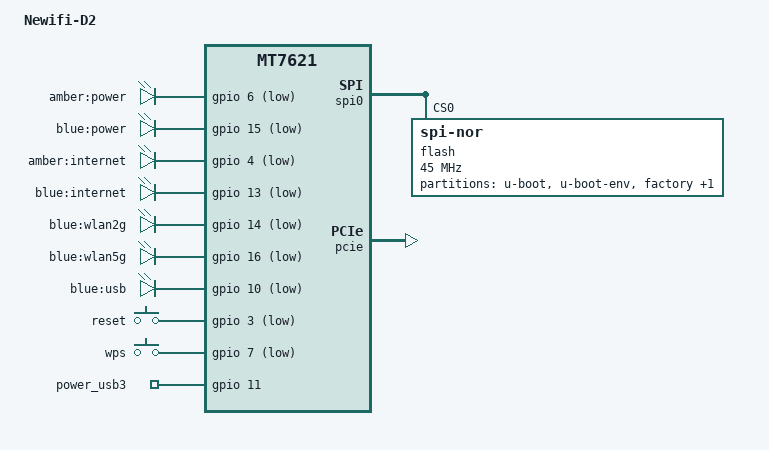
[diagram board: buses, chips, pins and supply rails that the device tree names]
#include "mt7621.dtsi"

#include <dt-bindings/gpio/gpio.h>
#include <dt-bindings/input/input.h>

/ {
	compatible = "d-team,newifi-d2", "mediatek,mt7621-soc";
	model = "Newifi-D2";

	aliases {
		led-boot = &led_power_blue;
		led-failsafe = &led_power_blue;
		led-running = &led_power_blue;
		led-upgrade = &led_power_blue;
		label-mac-device = &gmac0;
	};

	chosen {
		bootargs = "console=ttyS0,115200";
	};

	leds {
		compatible = "gpio-leds";

		power-amber {
			label = "amber:power";
			gpios = <&gpio 6 GPIO_ACTIVE_LOW>;
		};

		led_power_blue: power-blue {
			label = "blue:power";
			gpios = <&gpio 15 GPIO_ACTIVE_LOW>;
		};

		internet-amber {
			label = "amber:internet";
			gpios = <&gpio 4 GPIO_ACTIVE_LOW>;
		};

		internet-blue {
			label = "blue:internet";
			gpios = <&gpio 13 GPIO_ACTIVE_LOW>;
		};

		wlan2g {
			label = "blue:wlan2g";
			gpios = <&gpio 14 GPIO_ACTIVE_LOW>;
		};

		wlan5g {
			label = "blue:wlan5g";
			gpios = <&gpio 16 GPIO_ACTIVE_LOW>;
		};

		usb {
			label = "blue:usb";
			gpios = <&gpio 10 GPIO_ACTIVE_LOW>;
			trigger-sources = <&xhci_ehci_port1>, <&ehci_port2>;
			linux,default-trigger = "usbport";
		};
	};

	keys {
		compatible = "gpio-keys";

		reset {
			label = "reset";
			gpios = <&gpio 3 GPIO_ACTIVE_LOW>;
			linux,code = <KEY_RESTART>;
		};

		wps {
			label = "wps";
			gpios = <&gpio 7 GPIO_ACTIVE_LOW>;
			linux,code = <KEY_WPS_BUTTON>;
		};
	};

	gpio_export {
		compatible = "gpio-export";
		#size-cells = <0>;

		power_usb3 {
			gpio-export,name = "power_usb3";
			gpio-export,output = <1>;
			gpios = <&gpio 11 GPIO_ACTIVE_HIGH>;
		};
	};
};

&spi0 {
	status = "okay";

	flash@0 {
		compatible = "jedec,spi-nor";
		reg = <0>;
		spi-max-frequency = <45000000>;
		broken-flash-reset;

		partitions {
			compatible = "fixed-partitions";
			#address-cells = <1>;
			#size-cells = <1>;

			partition@0 {
				label = "u-boot";
				reg = <0x0 0x30000>;
				read-only;
			};

			partition@30000 {
				label = "u-boot-env";
				reg = <0x30000 0x10000>;
				read-only;
			};

			factory: partition@40000 {
				label = "factory";
				reg = <0x40000 0x10000>;
				read-only;
			};

			partition@50000 {
				compatible = "denx,uimage";
				label = "firmware";
				reg = <0x50000 0x1fb0000>;
			};
		};
	};
};

&pcie {
	status = "okay";
};

&pcie0 {
	mt76@0,0 {
		reg = <0x0000 0 0 0 0>;
		mediatek,mtd-eeprom = <&factory 0x8000>;
		ieee80211-freq-limit = <5000000 6000000>;
	};
};

&pcie1 {
	mt76@0,0 {
		reg = <0x0000 0 0 0 0>;
		mediatek,mtd-eeprom = <&factory 0x0000>;
	};
};

&gmac0 {
	nvmem-cells = <&macaddr_factory_e000>;
	nvmem-cell-names = "mac-address";
};

&switch0 {
	ports {
		port@0 {
			status = "okay";
			label = "lan4";
		};

		port@1 {
			status = "okay";
			label = "lan3";
		};

		port@2 {
			status = "okay";
			label = "lan2";
		};

		port@3 {
			status = "okay";
			label = "lan1";
		};

		port@4 {
			status = "okay";
			label = "wan";
			nvmem-cells = <&macaddr_factory_e006>;
			nvmem-cell-names = "mac-address";
		};
	};
};

&state_default {
	gpio {
		groups = "i2c", "jtag", "uart2", "uart3";
		function = "gpio";
	};
};

&factory {
	compatible = "nvmem-cells";
	#address-cells = <1>;
	#size-cells = <1>;

	macaddr_factory_e000: macaddr@e000 {
		reg = <0xe000 0x6>;
	};

	macaddr_factory_e006: macaddr@e006 {
		reg = <0xe006 0x6>;
	};
};
